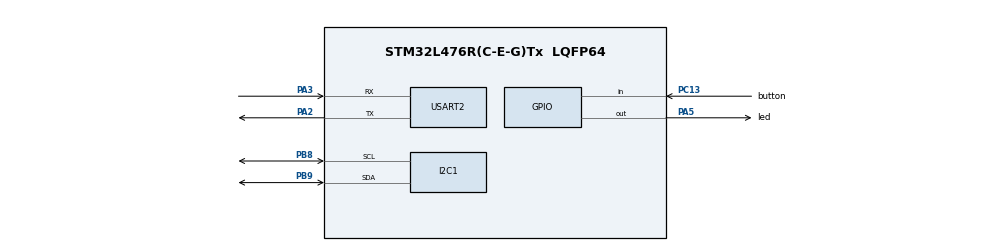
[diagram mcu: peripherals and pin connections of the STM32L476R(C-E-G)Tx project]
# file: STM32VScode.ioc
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I2C1.Timing=0x00100D14
Mcu.Family=STM32L4
Mcu.Name=STM32L476R(C-E-G)Tx
Mcu.Package=LQFP64
NVIC.PriorityGroup=NVIC_PRIORITYGROUP_4
PA13\ (JTMS-SWDIO).Mode=Serial_Wire
PA13\ (JTMS-SWDIO).Signal=SYS_JTMS-SWDIO
PA14\ (JTCK-SWCLK).Mode=Serial_Wire
PA14\ (JTCK-SWCLK).Signal=SYS_JTCK-SWCLK
PA2.Mode=Asynchronous
PA2.Signal=USART2_TX
PA3.Mode=Asynchronous
PA3.Signal=USART2_RX
PA5.GPIO_Label=led
PA5.Signal=GPIO_Output
PB8.Mode=I2C
PB8.Signal=I2C1_SCL
PB9.Mode=I2C
PB9.Signal=I2C1_SDA
PC13.GPIO_Label=button
PC13.Signal=GPIO_Input
ProjectManager.HeapSize=0x200
ProjectManager.StackSize=0x400
ProjectManager.TargetToolchain=Makefile
RCC.HSE_VALUE=8000000
RCC.HSI_VALUE=16000000
RCC.LSE_VALUE=32768
RCC.MSI_VALUE=4000000
RCC.VCOOutputFreq_Value=32000000
USART2.VirtualMode-Asynchronous=VM_ASYNC
board=custom

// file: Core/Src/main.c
/* USER CODE BEGIN Header */
/**
  ******************************************************************************
  * @file           : main.c
  * @brief          : Main program body
  ******************************************************************************
  * @attention
  *
  * Copyright (c) 2026 STMicroelectronics.
  * All rights reserved.
  *
  * This software is licensed under terms that can be found in the LICENSE file
  * in the root directory of this software component.
  * If no LICENSE file comes with this software, it is provided AS-IS.
  *
  ******************************************************************************
  */
/* USER CODE END Header */
#include "main.h"
#include "i2c.h"
#include "usart.h"
#include "gpio.h"

/* USER CODE BEGIN Includes */
#include "stdio.h"
/* USER CODE END Includes */

void SystemClock_Config(void);

int main(void)
{

  /* MCU Configuration--------------------------------------------------------*/

  /* Reset of all peripherals, Initializes the Flash interface and the Systick. */
  HAL_Init();

  /* Configure the system clock */
  SystemClock_Config();

  /* Initialize all configured peripherals */
  MX_GPIO_Init();
  MX_USART2_UART_Init();
  MX_I2C1_Init();

  /* Infinite loop */
  /* USER CODE BEGIN WHILE */

  uint8_t dataToWrite[128] = {
    0x00, // 0x00
    0x01, // 0x01
    0x02, // 0x02
    0x03, // 0x03
    0x04, // 0x04
    0x05, // 0x05
    0x06, // 0x06
    0x07, // 0x07
    0x08, // 0x08
    0x09, // 0x09
    0x0A, // 0x0A
    0x0B, // 0x0B
    0x0C, // 0x0C
    0x0D, // 0x0D
    0x0E, // 0x0E
    0x0F, // 0x0F
    0x10, // 0x10
    0x11, // 0x11
    0x12, // 0x12
    0x13, // 0x13
    0x14, // 0x14
    0x15, // 0x15
    0x16, // 0x16
    0x17, // 0x17
    0x18, // 0x18
    0x19, // 0x19
    0x1A, // 0x1A
    0x1B, // 0x1B
    0x1C, // 0x1C
    0x1D, // 0x1D
    0x1E, // 0x1E
    0x1F, // 0x1F
    0x20, // 0x20
    0x21, // 0x21
    0x22, // 0x22
    0x23, // 0x23
    0x24, // 0x24
    0x25, // 0x25
    0x26, // 0x26
    0x27, // 0x27
    0x28, // 0x28
    0x29, // 0x29
    0x2A, // 0x2A
    0x2B, // 0x2B
    0x2C, // 0x2C
    0x2D, // 0x2D
    0x2E, // 0x2E
    0x2F, // 0x2F
    0x30, // 0x30
    0x31, // 0x31
    0x32, // 0x32
    0x33, // 0x33
    0x34, // 0x34
    0x35, // 0x35
    0x36, // 0x36
    0x37, // 0x37
    0x38, // 0x38
    0x39, // 0x39
    0x3A, // 0x3A
    0x3B, // 0x3B
    0x3C, // 0x3C
    0x3D, // 0x3D
    0x3E, // 0x3E
    0x3F, // 0x3F
    0x40, // 0x40
    0x41, // 0x41
    0x42, // 0x42
    0x43, // 0x43
    0x44, // 0x44
    0x45, // 0x45
    0x46, // 0x46
    0x47, // 0x47
    0x48, // 0x48
    0x49, // 0x49
    0x4A, // 0x4A
    0x4B, // 0x4B
    0x4C, // 0x4C
    0x4D, // 0x4D
    0x4E, // 0x4E
    0x4F, // 0x4F
    0x50, // 0x50
    0x51, // 0x51
    0x52, // 0x52
    0x53, // 0x53
    0x54, // 0x54
    0x55, // 0x55
    0x56, // 0x56
    0x57, // 0x57
    0x58, // 0x58
    0x59, // 0x59
    0x5A, // 0x5A
    0x5B, // 0x5B
    0x5C, // 0x5C
    0x5D, // 0x5D
    0x5E, // 0x5E
    0x5F, // 0x5F
    0x60, // 0x60
    0x61, // 0x61
    0x62, // 0x62
    0x63, // 0x63
    0x64, // 0x64
    0x65, // 0x65
    0x66, // 0x66
    0x67, // 0x67
    0x68, // 0x68
    0x69, // 0x69
    0x6A, // 0x6A
    0x6B, // 0x6B
    0x6C, // 0x6C
    0x6D, // 0x6D
    0x6E, // 0x6E
    0x6F, // 0x6F
    0x70, // 0x70
    0x71, // 0x71
    0x72, // 0x72
    0x73, // 0x73
    0x74, // 0x74
    0x75, // 0x75
    0x76, // 0x76
    0x77, // 0x77
    0x78, // 0x78
    0x79, // 0x79
    0x7A, // 0x7A
    0x7B, // 0x7B
    0x7C, // 0x7C
    0x7D, // 0x7D
    0x7E, // 0x7E
    0x7F  // 0x7F
};

  uint8_t programState = 0;

  while (1)
  {
    if(programState == 0 && HAL_GPIO_ReadPin(button_GPIO_Port, button_Pin) == GPIO_PIN_RESET){
      printf("\n=============== READING DATA ===============\n\n");

      uint8_t receivedData[128];
      HAL_StatusTypeDef readRet = HAL_I2C_Mem_Read(&hi2c1, 0xA0, 0x0, 1, receivedData, sizeof(receivedData), HAL_MAX_DELAY);

      if(readRet == HAL_OK)
        for(uint8_t i=0; i < sizeof(receivedData); i++)
          printf("0x%02X: %02X\n", i, receivedData[i]);
      else
        printf("Read error\n");

      programState = 1;
    }

    if(programState == 1 && HAL_GPIO_ReadPin(button_GPIO_Port, button_Pin) == GPIO_PIN_SET){
      programState = 2;
    }

    if(programState == 2 && HAL_GPIO_ReadPin(button_GPIO_Port, button_Pin) == GPIO_PIN_RESET){
      printf("\n=============== WRITING DATA ===============\n\n");

      for(uint16_t addr = 0; addr < 128; addr += 8){
        HAL_StatusTypeDef writeRet = HAL_I2C_Mem_Write(&hi2c1, 0xA0, addr, 1, dataToWrite+addr, 8, HAL_MAX_DELAY);
        if(writeRet == HAL_OK)
          printf("Saved 8 B from 0x%02X\n", addr);
        HAL_Delay(50);
      }

      programState = 0;
    }

    /* USER CODE END WHILE */

  }
}

void SystemClock_Config(void)
{
  RCC_OscInitTypeDef RCC_OscInitStruct = {0};
  RCC_ClkInitTypeDef RCC_ClkInitStruct = {0};

  /** Configure the main internal regulator output voltage
  */
  if (HAL_PWREx_ControlVoltageScaling(PWR_REGULATOR_VOLTAGE_SCALE1) != HAL_OK)
  {
    Error_Handler();
  }

  /** Initializes the RCC Oscillators according to the specified parameters
  * in the RCC_OscInitTypeDef structure.
  */
  RCC_OscInitStruct.OscillatorType = RCC_OSCILLATORTYPE_MSI;
  RCC_OscInitStruct.MSIState = RCC_MSI_ON;
  RCC_OscInitStruct.MSICalibrationValue = 0;
  RCC_OscInitStruct.MSIClockRange = RCC_MSIRANGE_6;
  RCC_OscInitStruct.PLL.PLLState = RCC_PLL_NONE;
  if (HAL_RCC_OscConfig(&RCC_OscInitStruct) != HAL_OK)
  {
    Error_Handler();
  }

  /** Initializes the CPU, AHB and APB buses clocks
  */
  RCC_ClkInitStruct.ClockType = RCC_CLOCKTYPE_HCLK|RCC_CLOCKTYPE_SYSCLK
                              |RCC_CLOCKTYPE_PCLK1|RCC_CLOCKTYPE_PCLK2;
  RCC_ClkInitStruct.SYSCLKSource = RCC_SYSCLKSOURCE_MSI;
  RCC_ClkInitStruct.AHBCLKDivider = RCC_SYSCLK_DIV1;
  RCC_ClkInitStruct.APB1CLKDivider = RCC_HCLK_DIV1;
  RCC_ClkInitStruct.APB2CLKDivider = RCC_HCLK_DIV1;

  if (HAL_RCC_ClockConfig(&RCC_ClkInitStruct, FLASH_LATENCY_0) != HAL_OK)
  {
    Error_Handler();
  }
}

void Error_Handler(void)
{
  __disable_irq();
  while (1)
  {
  }
}
